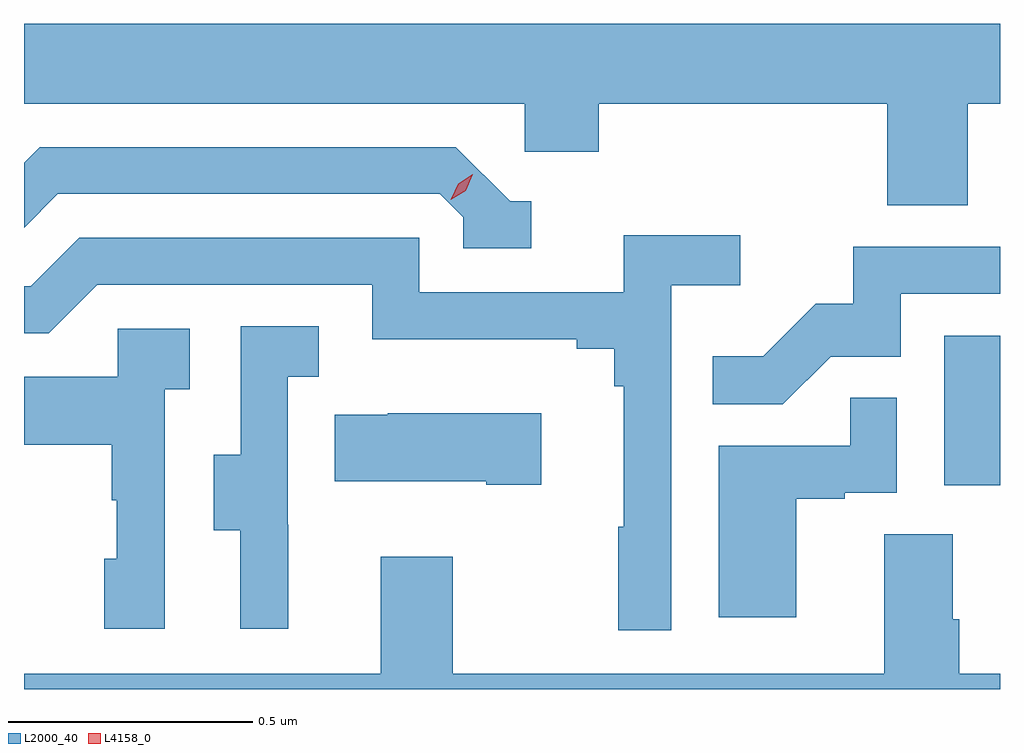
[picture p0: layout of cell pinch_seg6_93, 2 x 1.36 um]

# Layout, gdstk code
import gdstk
lib = gdstk.Library(unit=1e-6, precision=1e-09)
def R(c, l, rs):  # rectangles x0, y0, x1, y1
    for r in rs: c.add(gdstk.rectangle(r[:2], r[2:], *l))
def P(c, l, *ps):  # polygons
    for p in ps: c.add(gdstk.Polygon(p, *l))
L2000_40 = (2000, 40)
L4158_0 = (4158, 0)

pinch_seg6_93 = lib.new_cell('pinch_seg6_93')
R(pinch_seg6_93, L2000_40, [(928.82,915.918,928.934,916.225)])
P(pinch_seg6_93, L2000_40, [(928.868,916.7),(928.934,916.7),(928.934,916.864),(926.934,916.864),(926.934,916.7),(927.96,916.7),(927.96,916.602),(928.112,916.602),(928.112,916.7),(928.703,916.7),(928.703,916.492),(928.868,916.492)],
  [(927.973,916.5),(927.93,916.5),(927.819,916.611),(926.966,916.611),(926.934,916.579),(926.934,916.446),(927.003,916.515),(927.786,916.515),(927.834,916.467),(927.834,916.404),(927.973,916.404)],
  [(928.26,916.328),(928.402,916.328),(928.402,916.43),(928.163,916.43),(928.163,916.314),(927.744,916.314),(927.744,916.425),(927.047,916.425),(926.948,916.326),(926.934,916.326),(926.934,916.23),(926.985,916.23),(927.084,916.329),(927.648,916.329),(927.648,916.217),(928.067,916.217),(928.067,916.198),(928.144,916.198),(928.144,916.121),(928.163,916.121),(928.163,915.833),(928.152,915.833),(928.152,915.621),(928.26,915.621)],
  [(928.587,916.182),(928.731,916.182),(928.731,916.311),(928.934,916.311),(928.934,916.407),(928.633,916.407),(928.633,916.29),(928.556,916.29),(928.449,916.183),(928.345,916.183),(928.345,916.084),(928.489,916.084)],
  [(927.476,915.837),(927.474,915.837),(927.474,916.141),(927.538,916.141),(927.538,916.244),(927.378,916.244),(927.378,915.981),(927.323,915.981),(927.323,915.826),(927.377,915.826),(927.377,915.624),(927.476,915.624)],
  [(927.222,916.115),(927.274,916.115),(927.274,916.239),(927.126,916.239),(927.126,916.141),(926.934,916.141),(926.934,916.001),(927.114,916.001),(927.114,915.887),(927.124,915.887),(927.124,915.768),(927.098,915.768),(927.098,915.624),(927.222,915.624)],
  [(928.516,915.891),(928.616,915.891),(928.616,915.903),(928.722,915.903),(928.722,916.097),(928.627,916.097),(928.627,915.999),(928.358,915.999),(928.358,915.648),(928.516,915.648)],
  [(927.994,916.066),(927.679,916.066),(927.679,916.063),(927.571,916.063),(927.571,915.926),(927.881,915.926),(927.881,915.919),(927.994,915.919)],
  [(928.934,915.532),(928.85,915.532),(928.85,915.644),(928.837,915.644),(928.837,915.818),(928.697,915.818),(928.697,915.532),(927.813,915.532),(927.813,915.772),(927.665,915.772),(927.665,915.532),(926.934,915.532),(926.934,915.5),(928.934,915.5)])
P(pinch_seg6_93, L4158_0, [(927.808,916.503),(927.808,916.503),(927.824,916.536),(927.854,916.555),(927.854,916.555),(927.854,916.555),(927.839,916.522),(927.808,916.503)])

lib.write_gds('pinch_seg6_93.gds')
